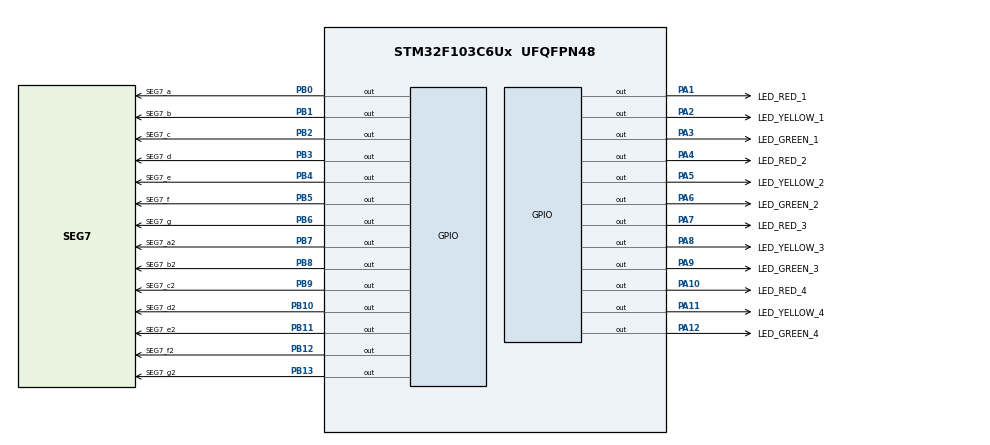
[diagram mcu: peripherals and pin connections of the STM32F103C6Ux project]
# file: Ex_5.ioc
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Mcu.Family=STM32F1
Mcu.Name=STM32F103C6Ux
Mcu.Package=UFQFPN48
NVIC.PriorityGroup=NVIC_PRIORITYGROUP_4
PA1.GPIO_Label=LED_RED_1
PA1.Signal=GPIO_Output
PA10.GPIO_Label=LED_RED_4
PA10.Signal=GPIO_Output
PA11.GPIO_Label=LED_YELLOW_4
PA11.Signal=GPIO_Output
PA12.GPIO_Label=LED_GREEN_4
PA12.Signal=GPIO_Output
PA2.GPIO_Label=LED_YELLOW_1
PA2.Signal=GPIO_Output
PA3.GPIO_Label=LED_GREEN_1
PA3.Signal=GPIO_Output
PA4.GPIO_Label=LED_RED_2
PA4.Signal=GPIO_Output
PA5.GPIO_Label=LED_YELLOW_2
PA5.Signal=GPIO_Output
PA6.GPIO_Label=LED_GREEN_2
PA6.Signal=GPIO_Output
PA7.GPIO_Label=LED_RED_3
PA7.Signal=GPIO_Output
PA8.GPIO_Label=LED_YELLOW_3
PA8.Signal=GPIO_Output
PA9.GPIO_Label=LED_GREEN_3
PA9.Signal=GPIO_Output
PB0.GPIO_Label=SEG7_a
PB0.Signal=GPIO_Output
PB1.GPIO_Label=SEG7_b
PB1.Signal=GPIO_Output
PB10.GPIO_Label=SEG7_d2
PB10.Signal=GPIO_Output
PB11.GPIO_Label=SEG7_e2
PB11.Signal=GPIO_Output
PB12.GPIO_Label=SEG7_f2
PB12.Signal=GPIO_Output
PB13.GPIO_Label=SEG7_g2
PB13.Signal=GPIO_Output
PB2.GPIO_Label=SEG7_c
PB2.Signal=GPIO_Output
PB3.GPIO_Label=SEG7_d
PB3.Signal=GPIO_Output
PB4.GPIO_Label=SEG7_e
PB4.Signal=GPIO_Output
PB5.GPIO_Label=SEG7_f
PB5.Signal=GPIO_Output
PB6.GPIO_Label=SEG7_g
PB6.Signal=GPIO_Output
PB7.GPIO_Label=SEG7_a2
PB7.Signal=GPIO_Output
PB8.GPIO_Label=SEG7_b2
PB8.Signal=GPIO_Output
PB9.GPIO_Label=SEG7_c2
PB9.Signal=GPIO_Output
ProjectManager.HeapSize=0x200
ProjectManager.StackSize=0x400
ProjectManager.TargetToolchain=STM32CubeIDE
RCC.APB1Freq_Value=8000000
RCC.APB2Freq_Value=8000000
VP_SYS_VS_ND.Mode=No_Debug
board=custom

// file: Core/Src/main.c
/* USER CODE BEGIN Header */
/**
  ******************************************************************************
  * @file           : main.c
  * @brief          : Main program body
  ******************************************************************************
  * @attention
  *
  * <h2><center>&copy; Copyright (c) 2023 STMicroelectronics.
  * All rights reserved.</center></h2>
  *
  * This software component is licensed by ST under BSD 3-Clause license,
  * the "License"; You may not use this file except in compliance with the
  * License. You may obtain a copy of the License at:
  *                        opensource.org/licenses/BSD-3-Clause
  *
  ******************************************************************************
  */
/* USER CODE END Header */
#include "main.h"

void SystemClock_Config(void);
static void MX_GPIO_Init(void);
/* USER CODE BEGIN PFP */
void led_on(int pin);
void led_off(int pin);
void display7SEG(int num);
void display7SEG_2(int num);
/* USER CODE END PFP */

int main(void)
{

  /* MCU Configuration--------------------------------------------------------*/

  /* Reset of all peripherals, Initializes the Flash interface and the Systick. */
  HAL_Init();

  /* Configure the system clock */
  SystemClock_Config();

  /* Initialize all configured peripherals */
  MX_GPIO_Init();

  /* Infinite loop */
  /* USER CODE BEGIN WHILE */
//  void led_on(int pin), void led_off(int pin) is function set logical for led in this pin. on = logic 0, off = logic 1
//  display7SEG_2 is the same with display7SEG, but it is used for other pin
     int count1 = 0;
     int count2 = 0;
     int status1 = 0;
     int status2 = 2;
     while (1)
     {
   	  /* USER CODE END WHILE */
     	  if (count1 == 0)
     	  	  {
     		  	  if (status1 == 0)
     		  	  {
     		  		  led_on(1);
     		  		  led_off(2);
     		  		  led_off(3);
     		  		  led_on(7);
     		  		  led_off(8);
     		  		  led_off(9);
     		  		  status1 = 2;
     		  		  count1 = 5;
     		  	  }
     		  	  else if(status1 == 1)
     		  	  {

     		  		  led_off(1);
     		  		  led_on(2);
     		  		  led_off(3);
     		  		  led_off(7);
     		  		  led_on(8);
     		  		  led_off(9);
     		  		  status1 = 0;
     		  		  count1 = 2;
     		  	  }
     		  	  else if(status1 == 2)
     		  	  {

     		  		  led_off(1);
     		  		  led_off(2);
     		  		  led_on(3);
     		  		  led_off(7);
     		  		  led_off(8);
     		  		  led_on(9);
     		  		  status1 = 1;
     		  		  count1 = 3;
     		  	  }
     	  	  }
     	  if(count2 == 0)
     	  {
     		  	  if(status2 == 0)
     		  	  {
     		  		  led_on(4);
     		  		  led_off(5);
     		  		  led_off(6);
     		  		  led_on(10);
     		  		  led_off(11);
     		  		  led_off(12);
     		  		  status2 = 2;
     		  		  count2 = 5;
     		  	  }
     		  	  else if(status2 == 1)
     		  	  {
     		  		  led_off(4);
     		  		  led_on(5);
     		  		  led_off(6);
     		  		  led_off(10);
     		  		  led_on(11);
     		  		  led_off(12);
     		  		  status2 = 0;
     		  		  count2 = 2;
     		  	  }
     		  	  else if(status2 == 2)
     		  	  {
     		  		  led_off(4);
     		  		  led_off(5);
     		  		  led_on(6);
     		  		  led_off(10);
     		  		  led_off(11);
     		  		  led_on(12);
     		  		  status2 = 1;
     		  		  count2 = 3;
     		  	  }
     	  }
     	  display7SEG(count1--);
     	  display7SEG_2(count2--);
     	  HAL_Delay(1000);
     }
}

void SystemClock_Config(void)
{
  RCC_OscInitTypeDef RCC_OscInitStruct = {0};
  RCC_ClkInitTypeDef RCC_ClkInitStruct = {0};

  /** Initializes the RCC Oscillators according to the specified parameters
  * in the RCC_OscInitTypeDef structure.
  */
  RCC_OscInitStruct.OscillatorType = RCC_OSCILLATORTYPE_HSI;
  RCC_OscInitStruct.HSIState = RCC_HSI_ON;
  RCC_OscInitStruct.HSICalibrationValue = RCC_HSICALIBRATION_DEFAULT;
  RCC_OscInitStruct.PLL.PLLState = RCC_PLL_NONE;
  if (HAL_RCC_OscConfig(&RCC_OscInitStruct) != HAL_OK)
  {
    Error_Handler();
  }
  /** Initializes the CPU, AHB and APB buses clocks
  */
  RCC_ClkInitStruct.ClockType = RCC_CLOCKTYPE_HCLK|RCC_CLOCKTYPE_SYSCLK
                              |RCC_CLOCKTYPE_PCLK1|RCC_CLOCKTYPE_PCLK2;
  RCC_ClkInitStruct.SYSCLKSource = RCC_SYSCLKSOURCE_HSI;
  RCC_ClkInitStruct.AHBCLKDivider = RCC_SYSCLK_DIV1;
  RCC_ClkInitStruct.APB1CLKDivider = RCC_HCLK_DIV1;
  RCC_ClkInitStruct.APB2CLKDivider = RCC_HCLK_DIV1;

  if (HAL_RCC_ClockConfig(&RCC_ClkInitStruct, FLASH_LATENCY_0) != HAL_OK)
  {
    Error_Handler();
  }
}

static void MX_GPIO_Init(void)
{
  GPIO_InitTypeDef GPIO_InitStruct = {0};

  /* GPIO Ports Clock Enable */
  __HAL_RCC_GPIOA_CLK_ENABLE();
  __HAL_RCC_GPIOB_CLK_ENABLE();

  /*Configure GPIO pin Output Level */
  HAL_GPIO_WritePin(GPIOA, LED_RED_1_Pin|LED_YELLOW_1_Pin|LED_GREEN_1_Pin|LED_RED_2_Pin
                          |LED_YELLOW_2_Pin|LED_GREEN_2_Pin|LED_RED_3_Pin|LED_YELLOW_3_Pin
                          |LED_GREEN_3_Pin|LED_RED_4_Pin|LED_YELLOW_4_Pin|LED_GREEN_4_Pin, GPIO_PIN_RESET);

  /*Configure GPIO pin Output Level */
  HAL_GPIO_WritePin(GPIOB, SEG7_a_Pin|SEG7_b_Pin|SEG7_c_Pin|SEG7_d2_Pin
                          |SEG7_e2_Pin|SEG7_f2_Pin|SEG7_g2_Pin|SEG7_d_Pin
                          |SEG7_e_Pin|SEG7_f_Pin|SEG7_g_Pin|SEG7_a2_Pin
                          |SEG7_b2_Pin|SEG7_c2_Pin, GPIO_PIN_RESET);

  /*Configure GPIO pins : LED_RED_1_Pin LED_YELLOW_1_Pin LED_GREEN_1_Pin LED_RED_2_Pin
                           LED_YELLOW_2_Pin LED_GREEN_2_Pin LED_RED_3_Pin LED_YELLOW_3_Pin
                           LED_GREEN_3_Pin LED_RED_4_Pin LED_YELLOW_4_Pin LED_GREEN_4_Pin */
  GPIO_InitStruct.Pin = LED_RED_1_Pin|LED_YELLOW_1_Pin|LED_GREEN_1_Pin|LED_RED_2_Pin
                          |LED_YELLOW_2_Pin|LED_GREEN_2_Pin|LED_RED_3_Pin|LED_YELLOW_3_Pin
                          |LED_GREEN_3_Pin|LED_RED_4_Pin|LED_YELLOW_4_Pin|LED_GREEN_4_Pin;
  GPIO_InitStruct.Mode = GPIO_MODE_OUTPUT_PP;
  GPIO_InitStruct.Pull = GPIO_NOPULL;
  GPIO_InitStruct.Speed = GPIO_SPEED_FREQ_LOW;
  HAL_GPIO_Init(GPIOA, &GPIO_InitStruct);

  /*Configure GPIO pins : SEG7_a_Pin SEG7_b_Pin SEG7_c_Pin SEG7_d2_Pin
                           SEG7_e2_Pin SEG7_f2_Pin SEG7_g2_Pin SEG7_d_Pin
                           SEG7_e_Pin SEG7_f_Pin SEG7_g_Pin SEG7_a2_Pin
                           SEG7_b2_Pin SEG7_c2_Pin */
  GPIO_InitStruct.Pin = SEG7_a_Pin|SEG7_b_Pin|SEG7_c_Pin|SEG7_d2_Pin
                          |SEG7_e2_Pin|SEG7_f2_Pin|SEG7_g2_Pin|SEG7_d_Pin
                          |SEG7_e_Pin|SEG7_f_Pin|SEG7_g_Pin|SEG7_a2_Pin
                          |SEG7_b2_Pin|SEG7_c2_Pin;
  GPIO_InitStruct.Mode = GPIO_MODE_OUTPUT_PP;
  GPIO_InitStruct.Pull = GPIO_NOPULL;
  GPIO_InitStruct.Speed = GPIO_SPEED_FREQ_LOW;
  HAL_GPIO_Init(GPIOB, &GPIO_InitStruct);

}

/* USER CODE BEGIN 4 */
void led_on(int pin)
{
	if (pin == 1) HAL_GPIO_WritePin(GPIOA, GPIO_PIN_1, 0);
    else if (pin == 2) HAL_GPIO_WritePin(GPIOA, GPIO_PIN_2, 0);
    else if (pin == 3) HAL_GPIO_WritePin(GPIOA, GPIO_PIN_3, 0);
    else if (pin == 4) HAL_GPIO_WritePin(GPIOA, GPIO_PIN_4, 0);
    else if (pin == 5) HAL_GPIO_WritePin(GPIOA, GPIO_PIN_5, 0);
    else if (pin == 6) HAL_GPIO_WritePin(GPIOA, GPIO_PIN_6, 0);
    else if (pin == 7) HAL_GPIO_WritePin(GPIOA, GPIO_PIN_7, 0);
    else if (pin == 8) HAL_GPIO_WritePin(GPIOA, GPIO_PIN_8, 0);
    else if (pin == 9) HAL_GPIO_WritePin(GPIOA, GPIO_PIN_9, 0);
    else if (pin == 10) HAL_GPIO_WritePin(GPIOA, GPIO_PIN_10, 0);
    else if (pin == 11) HAL_GPIO_WritePin(GPIOA, GPIO_PIN_11, 0);
    else if (pin == 12) HAL_GPIO_WritePin(GPIOA, GPIO_PIN_12, 0);
}
void led_off(int pin)
{
 	if (pin == 1) HAL_GPIO_WritePin(GPIOA, GPIO_PIN_1, 1);
 	else if (pin == 2) HAL_GPIO_WritePin(GPIOA, GPIO_PIN_2, 1);
 	else if (pin == 3) HAL_GPIO_WritePin(GPIOA, GPIO_PIN_3, 1);
 	else if (pin == 4) HAL_GPIO_WritePin(GPIOA, GPIO_PIN_4, 1);
 	else if (pin == 5) HAL_GPIO_WritePin(GPIOA, GPIO_PIN_5, 1);
 	else if (pin == 6) HAL_GPIO_WritePin(GPIOA, GPIO_PIN_6, 1);
 	else if (pin == 7) HAL_GPIO_WritePin(GPIOA, GPIO_PIN_7, 1);
 	else if (pin == 8) HAL_GPIO_WritePin(GPIOA, GPIO_PIN_8, 1);
 	else if (pin == 9) HAL_GPIO_WritePin(GPIOA, GPIO_PIN_9, 1);
 	else if (pin == 10) HAL_GPIO_WritePin(GPIOA, GPIO_PIN_10, 1);
 	else if (pin == 11) HAL_GPIO_WritePin(GPIOA, GPIO_PIN_11, 1);
 	else if (pin == 12) HAL_GPIO_WritePin(GPIOA, GPIO_PIN_12, 1);
}
void display7SEG(int num)
{
   	if (num == 0)
    {
   		HAL_GPIO_WritePin(SEG7_a_GPIO_Port, SEG7_a_Pin, 0);
   		HAL_GPIO_WritePin(SEG7_b_GPIO_Port, SEG7_b_Pin, 0);
   		HAL_GPIO_WritePin(SEG7_c_GPIO_Port, SEG7_c_Pin, 0);
   		HAL_GPIO_WritePin(SEG7_d_GPIO_Port, SEG7_d_Pin, 0);
   		HAL_GPIO_WritePin(SEG7_e_GPIO_Port, SEG7_e_Pin, 0);
   		HAL_GPIO_WritePin(SEG7_f_GPIO_Port, SEG7_f_Pin, 0);
   		HAL_GPIO_WritePin(SEG7_g_GPIO_Port, SEG7_g_Pin, 1);
   	}
   	else if (num == 1)
   	{
   		HAL_GPIO_WritePin(SEG7_a_GPIO_Port, SEG7_a_Pin, 1);
   		HAL_GPIO_WritePin(SEG7_b_GPIO_Port, SEG7_b_Pin, 0);
   		HAL_GPIO_WritePin(SEG7_c_GPIO_Port, SEG7_c_Pin, 0);
   		HAL_GPIO_WritePin(SEG7_d_GPIO_Port, SEG7_d_Pin, 1);
   		HAL_GPIO_WritePin(SEG7_e_GPIO_Port, SEG7_e_Pin, 1);
   		HAL_GPIO_WritePin(SEG7_f_GPIO_Port, SEG7_f_Pin, 1);
   		HAL_GPIO_WritePin(SEG7_g_GPIO_Port, SEG7_g_Pin, 1);
   	}
   	else if (num == 2)
   	{
   		HAL_GPIO_WritePin(SEG7_a_GPIO_Port, SEG7_a_Pin, 0);
   		HAL_GPIO_WritePin(SEG7_b_GPIO_Port, SEG7_b_Pin, 0);
   		HAL_GPIO_WritePin(SEG7_c_GPIO_Port, SEG7_c_Pin, 1);
   		HAL_GPIO_WritePin(SEG7_d_GPIO_Port, SEG7_d_Pin, 0);
   		HAL_GPIO_WritePin(SEG7_e_GPIO_Port, SEG7_e_Pin, 0);
   		HAL_GPIO_WritePin(SEG7_f_GPIO_Port, SEG7_f_Pin, 1);
   		HAL_GPIO_WritePin(SEG7_g_GPIO_Port, SEG7_g_Pin, 0);
   	}
   	else if (num == 3)
   	{
   		HAL_GPIO_WritePin(SEG7_a_GPIO_Port, SEG7_a_Pin, 0);
   		HAL_GPIO_WritePin(SEG7_b_GPIO_Port, SEG7_b_Pin, 0);
   		HAL_GPIO_WritePin(SEG7_c_GPIO_Port, SEG7_c_Pin, 0);
   		HAL_GPIO_WritePin(SEG7_d_GPIO_Port, SEG7_d_Pin, 0);
   		HAL_GPIO_WritePin(SEG7_e_GPIO_Port, SEG7_e_Pin, 1);
   		HAL_GPIO_WritePin(SEG7_f_GPIO_Port, SEG7_f_Pin, 1);
   		HAL_GPIO_WritePin(SEG7_g_GPIO_Port, SEG7_g_Pin, 0);
   	}
   	else if (num == 4)
   	{
   		HAL_GPIO_WritePin(SEG7_a_GPIO_Port, SEG7_a_Pin, 1);
   		HAL_GPIO_WritePin(SEG7_b_GPIO_Port, SEG7_b_Pin, 0);
   		HAL_GPIO_WritePin(SEG7_c_GPIO_Port, SEG7_c_Pin, 0);
   		HAL_GPIO_WritePin(SEG7_d_GPIO_Port, SEG7_d_Pin, 1);
   		HAL_GPIO_WritePin(SEG7_e_GPIO_Port, SEG7_e_Pin, 1);
   		HAL_GPIO_WritePin(SEG7_f_GPIO_Port, SEG7_f_Pin, 0);
   		HAL_GPIO_WritePin(SEG7_g_GPIO_Port, SEG7_g_Pin, 0);
   	}
   	else if (num == 5)
   	{
   		HAL_GPIO_WritePin(SEG7_a_GPIO_Port, SEG7_a_Pin, 0);
   		HAL_GPIO_WritePin(SEG7_b_GPIO_Port, SEG7_b_Pin, 1);
   		HAL_GPIO_WritePin(SEG7_c_GPIO_Port, SEG7_c_Pin, 0);
   		HAL_GPIO_WritePin(SEG7_d_GPIO_Port, SEG7_d_Pin, 0);
   		HAL_GPIO_WritePin(SEG7_e_GPIO_Port, SEG7_e_Pin, 1);
   		HAL_GPIO_WritePin(SEG7_f_GPIO_Port, SEG7_f_Pin, 0);
   		HAL_GPIO_WritePin(SEG7_g_GPIO_Port, SEG7_g_Pin, 0);
   	}
   	else if (num == 6)
   	{
   		HAL_GPIO_WritePin(SEG7_a_GPIO_Port, SEG7_a_Pin, 0);
   		HAL_GPIO_WritePin(SEG7_b_GPIO_Port, SEG7_b_Pin, 1);
   		HAL_GPIO_WritePin(SEG7_c_GPIO_Port, SEG7_c_Pin, 0);
   		HAL_GPIO_WritePin(SEG7_d_GPIO_Port, SEG7_d_Pin, 0);
   		HAL_GPIO_WritePin(SEG7_e_GPIO_Port, SEG7_e_Pin, 0);
   		HAL_GPIO_WritePin(SEG7_f_GPIO_Port, SEG7_f_Pin, 0);
   		HAL_GPIO_WritePin(SEG7_g_GPIO_Port, SEG7_g_Pin, 0);
   	}
   	else if (num == 7)
   	{
   		HAL_GPIO_WritePin(SEG7_a_GPIO_Port, SEG7_a_Pin, 0);
   		HAL_GPIO_WritePin(SEG7_b_GPIO_Port, SEG7_b_Pin, 0);
   		HAL_GPIO_WritePin(SEG7_c_GPIO_Port, SEG7_c_Pin, 0);
   		HAL_GPIO_WritePin(SEG7_d_GPIO_Port, SEG7_d_Pin, 1);
   		HAL_GPIO_WritePin(SEG7_e_GPIO_Port, SEG7_e_Pin, 1);
   		HAL_GPIO_WritePin(SEG7_f_GPIO_Port, SEG7_f_Pin, 1);
   		HAL_GPIO_WritePin(SEG7_g_GPIO_Port, SEG7_g_Pin, 1);
   	}
   	else if (num == 8)
    {
   		HAL_GPIO_WritePin(SEG7_a_GPIO_Port, SEG7_a_Pin, 0);
   		HAL_GPIO_WritePin(SEG7_b_GPIO_Port, SEG7_b_Pin, 0);
   		HAL_GPIO_WritePin(SEG7_c_GPIO_Port, SEG7_c_Pin, 0);
   		HAL_GPIO_WritePin(SEG7_d_GPIO_Port, SEG7_d_Pin, 0);
   		HAL_GPIO_WritePin(SEG7_e_GPIO_Port, SEG7_e_Pin, 0);
   		HAL_GPIO_WritePin(SEG7_f_GPIO_Port, SEG7_f_Pin, 0);
   		HAL_GPIO_WritePin(SEG7_g_GPIO_Port, SEG7_g_Pin, 0);
   	}
   	else if (num == 9)
   	{
   		HAL_GPIO_WritePin(SEG7_a_GPIO_Port, SEG7_a_Pin, 0);
   		HAL_GPIO_WritePin(SEG7_b_GPIO_Port, SEG7_b_Pin, 0);
   		HAL_GPIO_WritePin(SEG7_c_GPIO_Port, SEG7_c_Pin, 0);
   		HAL_GPIO_WritePin(SEG7_d_GPIO_Port, SEG7_d_Pin, 0);
   		HAL_GPIO_WritePin(SEG7_e_GPIO_Port, SEG7_e_Pin, 1);
   		HAL_GPIO_WritePin(SEG7_f_GPIO_Port, SEG7_f_Pin, 0);
   		HAL_GPIO_WritePin(SEG7_g_GPIO_Port, SEG7_g_Pin, 0);
   	}
}
void display7SEG_2(int num)
{
   	if (num == 0)
   	{
   		HAL_GPIO_WritePin(SEG7_a2_GPIO_Port, SEG7_a2_Pin, 0);
   		HAL_GPIO_WritePin(SEG7_b2_GPIO_Port, SEG7_b2_Pin, 0);
   		HAL_GPIO_WritePin(SEG7_c2_GPIO_Port, SEG7_c2_Pin, 0);
   		HAL_GPIO_WritePin(SEG7_d2_GPIO_Port, SEG7_d2_Pin, 0);
   		HAL_GPIO_WritePin(SEG7_e2_GPIO_Port, SEG7_e2_Pin, 0);
   		HAL_GPIO_WritePin(SEG7_f2_GPIO_Port, SEG7_f2_Pin, 0);
   		HAL_GPIO_WritePin(SEG7_g2_GPIO_Port, SEG7_g2_Pin, 1);
   	}
   	else if (num == 1)
   	{
   		HAL_GPIO_WritePin(SEG7_a2_GPIO_Port, SEG7_a2_Pin, 1);
   		HAL_GPIO_WritePin(SEG7_b2_GPIO_Port, SEG7_b2_Pin, 0);
   		HAL_GPIO_WritePin(SEG7_c2_GPIO_Port, SEG7_c2_Pin, 0);
   		HAL_GPIO_WritePin(SEG7_d2_GPIO_Port, SEG7_d2_Pin, 1);
   		HAL_GPIO_WritePin(SEG7_e2_GPIO_Port, SEG7_e2_Pin, 1);
   		HAL_GPIO_WritePin(SEG7_f2_GPIO_Port, SEG7_f2_Pin, 1);
   		HAL_GPIO_WritePin(SEG7_g2_GPIO_Port, SEG7_g2_Pin, 1);
   	}
   	else if (num == 2)
   	{
   		HAL_GPIO_WritePin(SEG7_a2_GPIO_Port, SEG7_a2_Pin, 0);
   		HAL_GPIO_WritePin(SEG7_b2_GPIO_Port, SEG7_b2_Pin, 0);
   		HAL_GPIO_WritePin(SEG7_c2_GPIO_Port, SEG7_c2_Pin, 1);
   		HAL_GPIO_WritePin(SEG7_d2_GPIO_Port, SEG7_d2_Pin, 0);
   		HAL_GPIO_WritePin(SEG7_e2_GPIO_Port, SEG7_e2_Pin, 0);
   		HAL_GPIO_WritePin(SEG7_f2_GPIO_Port, SEG7_f2_Pin, 1);
   		HAL_GPIO_WritePin(SEG7_g2_GPIO_Port, SEG7_g2_Pin, 0);
   	}
   	else if (num == 3)
   	{
   		HAL_GPIO_WritePin(SEG7_a2_GPIO_Port, SEG7_a2_Pin, 0);
   		HAL_GPIO_WritePin(SEG7_b2_GPIO_Port, SEG7_b2_Pin, 0);
   		HAL_GPIO_WritePin(SEG7_c2_GPIO_Port, SEG7_c2_Pin, 0);
   		HAL_GPIO_WritePin(SEG7_d2_GPIO_Port, SEG7_d2_Pin, 0);
   		HAL_GPIO_WritePin(SEG7_e2_GPIO_Port, SEG7_e2_Pin, 1);
   		HAL_GPIO_WritePin(SEG7_f2_GPIO_Port, SEG7_f2_Pin, 1);
   		HAL_GPIO_WritePin(SEG7_g2_GPIO_Port, SEG7_g2_Pin, 0);
   	}
   	else if (num == 4)
   	{
   		HAL_GPIO_WritePin(SEG7_a2_GPIO_Port, SEG7_a2_Pin, 1);
   		HAL_GPIO_WritePin(SEG7_b2_GPIO_Port, SEG7_b2_Pin, 0);
   		HAL_GPIO_WritePin(SEG7_c2_GPIO_Port, SEG7_c2_Pin, 0);
   		HAL_GPIO_WritePin(SEG7_d2_GPIO_Port, SEG7_d2_Pin, 1);
   		HAL_GPIO_WritePin(SEG7_e2_GPIO_Port, SEG7_e2_Pin, 1);
   		HAL_GPIO_WritePin(SEG7_f2_GPIO_Port, SEG7_f2_Pin, 0);
   		HAL_GPIO_WritePin(SEG7_g2_GPIO_Port, SEG7_g2_Pin, 0);
   	}
   	else if (num == 5)
   	{
   		HAL_GPIO_WritePin(SEG7_a2_GPIO_Port, SEG7_a2_Pin, 0);
   		HAL_GPIO_WritePin(SEG7_b2_GPIO_Port, SEG7_b2_Pin, 1);
   		HAL_GPIO_WritePin(SEG7_c2_GPIO_Port, SEG7_c2_Pin, 0);
   		HAL_GPIO_WritePin(SEG7_d2_GPIO_Port, SEG7_d2_Pin, 0);
   		HAL_GPIO_WritePin(SEG7_e2_GPIO_Port, SEG7_e2_Pin, 1);
   		HAL_GPIO_WritePin(SEG7_f2_GPIO_Port, SEG7_f2_Pin, 0);
   		HAL_GPIO_WritePin(SEG7_g2_GPIO_Port, SEG7_g2_Pin, 0);
   	}
   	else if (num == 6)
   	{
   		HAL_GPIO_WritePin(SEG7_a2_GPIO_Port, SEG7_a2_Pin, 0);
   		HAL_GPIO_WritePin(SEG7_b2_GPIO_Port, SEG7_b2_Pin, 1);
   		HAL_GPIO_WritePin(SEG7_c2_GPIO_Port, SEG7_c2_Pin, 0);
   		HAL_GPIO_WritePin(SEG7_d2_GPIO_Port, SEG7_d2_Pin, 0);
   		HAL_GPIO_WritePin(SEG7_e2_GPIO_Port, SEG7_e2_Pin, 0);
   		HAL_GPIO_WritePin(SEG7_f2_GPIO_Port, SEG7_f2_Pin, 0);
   		HAL_GPIO_WritePin(SEG7_g2_GPIO_Port, SEG7_g2_Pin, 0);
   	}
   	else if (num == 7)
   	{
   		HAL_GPIO_WritePin(SEG7_a2_GPIO_Port, SEG7_a2_Pin, 0);
   		HAL_GPIO_WritePin(SEG7_b2_GPIO_Port, SEG7_b2_Pin, 0);
   		HAL_GPIO_WritePin(SEG7_c2_GPIO_Port, SEG7_c2_Pin, 0);
   		HAL_GPIO_WritePin(SEG7_d2_GPIO_Port, SEG7_d2_Pin, 1);
   		HAL_GPIO_WritePin(SEG7_e2_GPIO_Port, SEG7_e2_Pin, 1);
   		HAL_GPIO_WritePin(SEG7_f2_GPIO_Port, SEG7_f2_Pin, 1);
   		HAL_GPIO_WritePin(SEG7_g2_GPIO_Port, SEG7_g2_Pin, 1);
   	}
   	else if (num == 8)
   	{
   		HAL_GPIO_WritePin(SEG7_a2_GPIO_Port, SEG7_a2_Pin, 0);
   		HAL_GPIO_WritePin(SEG7_b2_GPIO_Port, SEG7_b2_Pin, 0);
   		HAL_GPIO_WritePin(SEG7_c2_GPIO_Port, SEG7_c2_Pin, 0);
   		HAL_GPIO_WritePin(SEG7_d2_GPIO_Port, SEG7_d2_Pin, 0);
   		HAL_GPIO_WritePin(SEG7_e2_GPIO_Port, SEG7_e2_Pin, 0);
   		HAL_GPIO_WritePin(SEG7_f2_GPIO_Port, SEG7_f2_Pin, 0);
   		HAL_GPIO_WritePin(SEG7_g2_GPIO_Port, SEG7_g2_Pin, 0);
   	}
   	else if (num == 9)
   	{
   		HAL_GPIO_WritePin(SEG7_a2_GPIO_Port, SEG7_a2_Pin, 0);
   		HAL_GPIO_WritePin(SEG7_b2_GPIO_Port, SEG7_b2_Pin, 0);
   		HAL_GPIO_WritePin(SEG7_c2_GPIO_Port, SEG7_c2_Pin, 0);
   		HAL_GPIO_WritePin(SEG7_d2_GPIO_Port, SEG7_d2_Pin, 0);
   		HAL_GPIO_WritePin(SEG7_e2_GPIO_Port, SEG7_e2_Pin, 1);
   		HAL_GPIO_WritePin(SEG7_f2_GPIO_Port, SEG7_f2_Pin, 0);
   		HAL_GPIO_WritePin(SEG7_g2_GPIO_Port, SEG7_g2_Pin, 0);
   	}
}
/* USER CODE END 4 */

void Error_Handler(void)
{
  __disable_irq();
  while (1)
  {
  }
}

/************************ (C) COPYRIGHT STMicroelectronics *****END OF FILE****/
